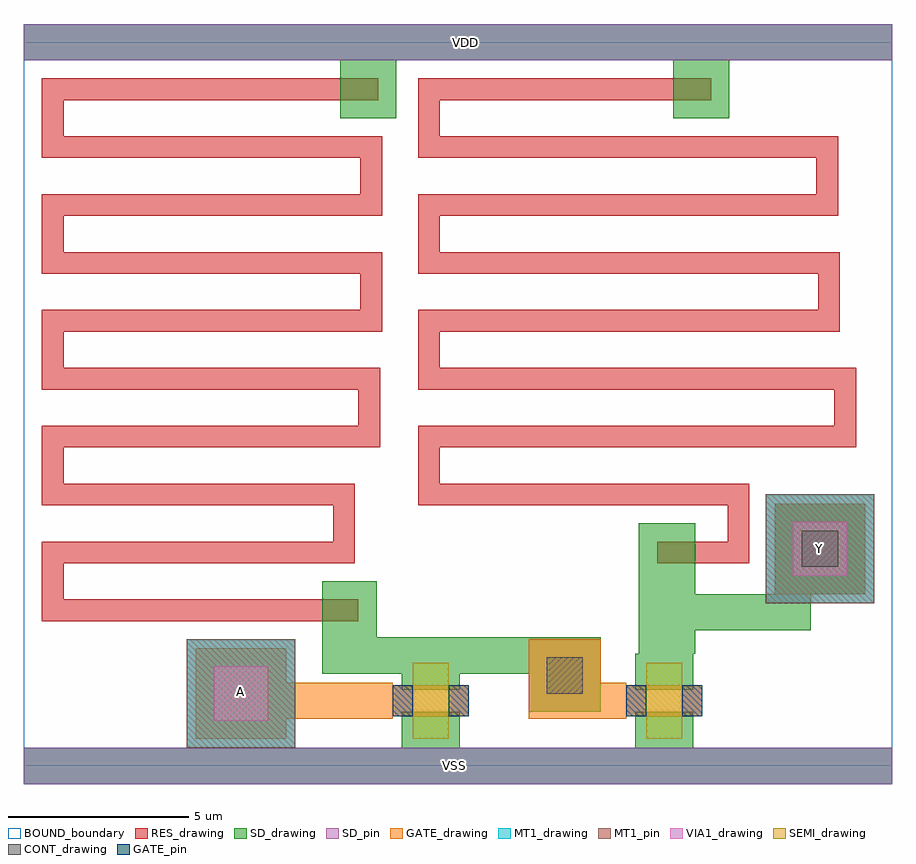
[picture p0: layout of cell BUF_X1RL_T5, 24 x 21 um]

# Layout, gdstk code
from math import pi, radians
import gdstk
lib = gdstk.Library(unit=1e-6, precision=1e-09)
def R(c, l, rs):  # rectangles x0, y0, x1, y1
    for r in rs: c.add(gdstk.rectangle(r[:2], r[2:], *l))
def P(c, l, *ps):  # polygons
    for p in ps: c.add(gdstk.Polygon(p, *l))
RES_drawing = (1, 0)
SEMI_drawing = (3, 0)
SD_drawing = (10, 0)
SD_pin = (10, 3)
GATE_drawing = (11, 0)
GATE_pin = (11, 3)
MT1_drawing = (20, 0)
MT1_pin = (20, 3)
CONT_drawing = (30, 0)
VIA1_drawing = (41, 0)
BOUND_boundary = (150, 5)

nch_cdns_772544863620 = lib.new_cell('nch_CDNS_772544863620')
R(nch_cdns_772544863620, SEMI_drawing, [(-1.05,-0.5,1.05,0.5)])
R(nch_cdns_772544863620, SD_drawing, [(-1.3,-0.8,-0.3,0.8), (0.3,-0.8,1.3,0.8)])
R(nch_cdns_772544863620, GATE_drawing, [(-0.425,-1.05,0.425,1.05)])
R(nch_cdns_772544863620, GATE_pin, [(-0.425,-1.05,0.425,-0.5), (-0.425,0.5,0.425,1.05)])

gate_mt1_cdns_7725448636 = lib.new_cell('GATE_MT1_CDNS_772544863620')
R(gate_mt1_cdns_7725448636, GATE_drawing, [(-1.25,-1.25,1.25,1.25)])
R(gate_mt1_cdns_7725448636, MT1_drawing, [(-1.25,-1.25,1.25,1.25)])
R(gate_mt1_cdns_7725448636, VIA1_drawing, [(-0.75,-0.75,0.75,0.75)])

sd_gate_cdns_77254486362 = lib.new_cell('SD_GATE_CDNS_772544863621')
R(sd_gate_cdns_77254486362, SD_drawing, [(-1,-1,1,1)])
R(sd_gate_cdns_77254486362, GATE_drawing, [(-1,-1,1,1)])
R(sd_gate_cdns_77254486362, CONT_drawing, [(-0.5,-0.5,0.5,0.5)])

buf_x1rl_t5 = lib.new_cell('BUF_X1RL_T5')
R(buf_x1rl_t5, SD_drawing, [(8.25,2.6,9.75,5.1), (17,3.1,18.55,6.7), (20.75,4.75,23.25,7.25), (8.75,17.9,10.3,19.5), (17.95,17.9,19.5,19.5)])
R(buf_x1rl_t5, SD_pin, [(0,-0.5,24,0.5), (0,19.5,24,20.5)])
P(buf_x1rl_t5, GATE_drawing, [(10.1,2.3),(10.1,1.3),(10.2,1.3),(10.2,1.425),(10.25,1.425),(10.25,2.175),(10.2,2.175),(10.2,2.3)],
  [(16.55,2.3),(16.55,1.3),(16.65,1.3),(16.65,1.425),(16.7,1.425),(16.7,2.175),(16.65,2.175),(16.65,2.3)])
R(buf_x1rl_t5, MT1_drawing, [(4.5,0.5,7.5,3.5), (20.5,4.5,23.5,7.5)])
R(buf_x1rl_t5, MT1_pin, [(4.5,0.5,7.5,3.5), (20.5,4.5,23.5,7.5)])
R(buf_x1rl_t5, BOUND_boundary, [(0,0,24,20)])
buf_x1rl_t5.add(gdstk.FlexPath([(14.45,1.8),(14.45,2.45)], 1, ends=(0.5, 0), simple_path=True, layer=11, datatype=0))  # GATE_drawing
buf_x1rl_t5.add(gdstk.FlexPath([(16.55,1.8),(14.45,1.8)], 1, ends=(0, 0.5), simple_path=True, layer=11, datatype=0))  # GATE_drawing
buf_x1rl_t5.add(gdstk.FlexPath([(6,1.8),(6,2)], 1, ends=(0.5, 0), simple_path=True, layer=11, datatype=0))  # GATE_drawing
buf_x1rl_t5.add(gdstk.FlexPath([(10.1,1.8),(6,1.8)], 1, ends=(0, 0.5), simple_path=True, layer=11, datatype=0))  # GATE_drawing
buf_x1rl_t5.add(gdstk.FlexPath([(17,4.25),(21.75,4.25)], 1, ends="flush", simple_path=True, layer=10, datatype=0))  # SD_drawing
buf_x1rl_t5.add(gdstk.FlexPath([(8.25,3.05),(15.95,3.05)], 1, ends="flush", simple_path=True, layer=10, datatype=0))  # SD_drawing
buf_x1rl_t5.add(gdstk.FlexPath([(0,20),(24,20)], 1, ends="flush", simple_path=True, layer=10, datatype=0))  # SD_drawing
buf_x1rl_t5.add(gdstk.FlexPath([(0,0),(24,0)], 1, ends="flush", simple_path=True, layer=10, datatype=0))  # SD_drawing
buf_x1rl_t5.add(gdstk.FlexPath([(9.8,18.7),(0.8,18.7),(0.8,17.1),(9.6,17.1),(9.6,15.5),(0.8,15.5),(0.8,13.9),(9.6,13.9),(9.6,12.3),(0.8,12.3),(0.8,10.7),(9.55,10.7),(9.55,9.1),(0.8,9.1),(0.8,7.5),(8.85,7.5),(8.85,5.9),(0.8,5.9),(0.8,4.3),(9.25,4.3)], 0.6, ends="flush", simple_path=True, layer=1, datatype=0))  # RES_drawing
buf_x1rl_t5.add(gdstk.FlexPath([(19,18.7),(11.2,18.7),(11.2,17.1),(22.2,17.1),(22.2,15.5),(11.2,15.5),(11.2,13.9),(22.25,13.9),(22.25,12.3),(11.2,12.3),(11.2,10.7),(22.7,10.7),(22.7,9.1),(11.2,9.1),(11.2,7.5),(19.75,7.5),(19.75,5.9),(17.5,5.9)], 0.6, ends="flush", simple_path=True, layer=1, datatype=0))  # RES_drawing
buf_x1rl_t5.add(gdstk.Reference(nch_cdns_772544863620, (17.7,1.8), rotation=pi/2))
buf_x1rl_t5.add(gdstk.Reference(nch_cdns_772544863620, (11.25,1.8), rotation=pi/2))
buf_x1rl_t5.add(gdstk.Reference(gate_mt1_cdns_7725448636, (22,6)))
buf_x1rl_t5.add(gdstk.Reference(gate_mt1_cdns_7725448636, (6,2)))
buf_x1rl_t5.add(gdstk.Reference(sd_gate_cdns_77254486362, (14.95,2.5)))
buf_x1rl_t5.add(gdstk.Reference(sd_gate_cdns_77254486362, (22,6)))
buf_x1rl_t5.add(gdstk.Label('VSS', (11.9,0), layer=10, texttype=3))
buf_x1rl_t5.add(gdstk.Label('VDD', (12.2,20), layer=10, texttype=3))
buf_x1rl_t5.add(gdstk.Label('Y', (22,6), layer=20, texttype=3))
buf_x1rl_t5.add(gdstk.Label('A', (6,2.05), layer=20, texttype=3))

lib.write_gds('BUF_X1RL_T5.gds')
